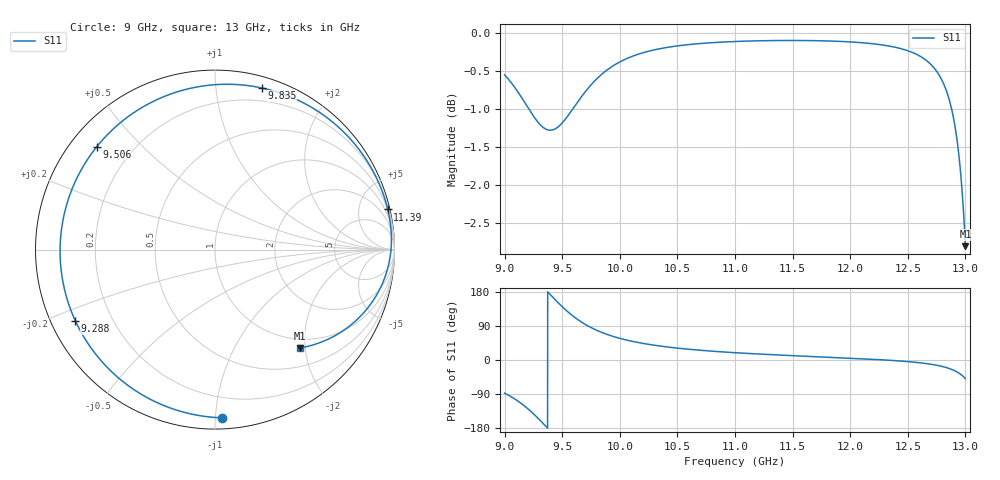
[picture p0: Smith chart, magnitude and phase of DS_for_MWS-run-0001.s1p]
! TOUCHSTONE file generated by CST DESIGN STUDIO
! Date and time: Tue Feb  4 14:11:38 2025
! Project name: C:\Work\MatlabApps\UnitCellOptimizationMatlab\CST\unitcell.cst
! Tree item: Tasks\Sweep1\SPara1\S-Parameters
! Header version: 2024
! Port assignment regex: !\s*Touchstone port\s*([0-9]+)\s*=\s*(CST MWS port|CST DES external port|CST DES block port)\s*(.+)\s* \(\"(.*)\"\)(\s*mode\s*([0-9]+))?.*
! Touchstone port assignment:
! Touchstone port 1 = CST DES external port 1 ("")
# GHz S MA R 50
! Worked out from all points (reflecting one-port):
!   4001 points, 9 GHz to 13 GHz, reference 50 ohm
!   lowest |S11| = -2.8 dB at 13 GHz (marker M1), VSWR 6.25, Z = 41.1 - j94.8 ohm
!   phase of S11 starts at -88 deg and turns -322 deg over the sweep
!   S11 on the Smith chart (normalised r, x): 9 GHz: 0.07, -1.04; 9.288 GHz: 0.07, -0.24; 9.506 GHz: 0.08, +0.37; 9.835 GHz: 0.09, +1.33; 11.39 GHz: 0.46, +8.70; 13 GHz: 0.82, -1.90
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9  0.9379 -87.6
9.082  0.9217 -101.7
9.154  0.9048 -116.9
9.22  0.8884 -133.5
9.288  0.8735 -153.0
9.341  0.8656 -169.5
9.391  0.8627 174.4
9.443  0.8648 157.8
9.5  0.8723 140.7
9.506  0.8733 138.9
9.575  0.8872 120.5
9.648  0.9033 104.0
9.731  0.9204 88.7
9.835  0.9377 73.8
9.914  0.9479 65.0
10  0.9565 57.2
10.101  0.9642 49.7
10.216  0.9706 43.0
10.5  0.98 31.4
11  0.9865 19.3
11.386  0.988 13.1
11.5  0.9881 11.5
12  0.9859 4.8
12.5  0.9729 -4.2
12.693  0.9541 -10.8
12.838  0.9144 -20.2
12.925  0.8527 -31.1
13  0.724 -49.2
